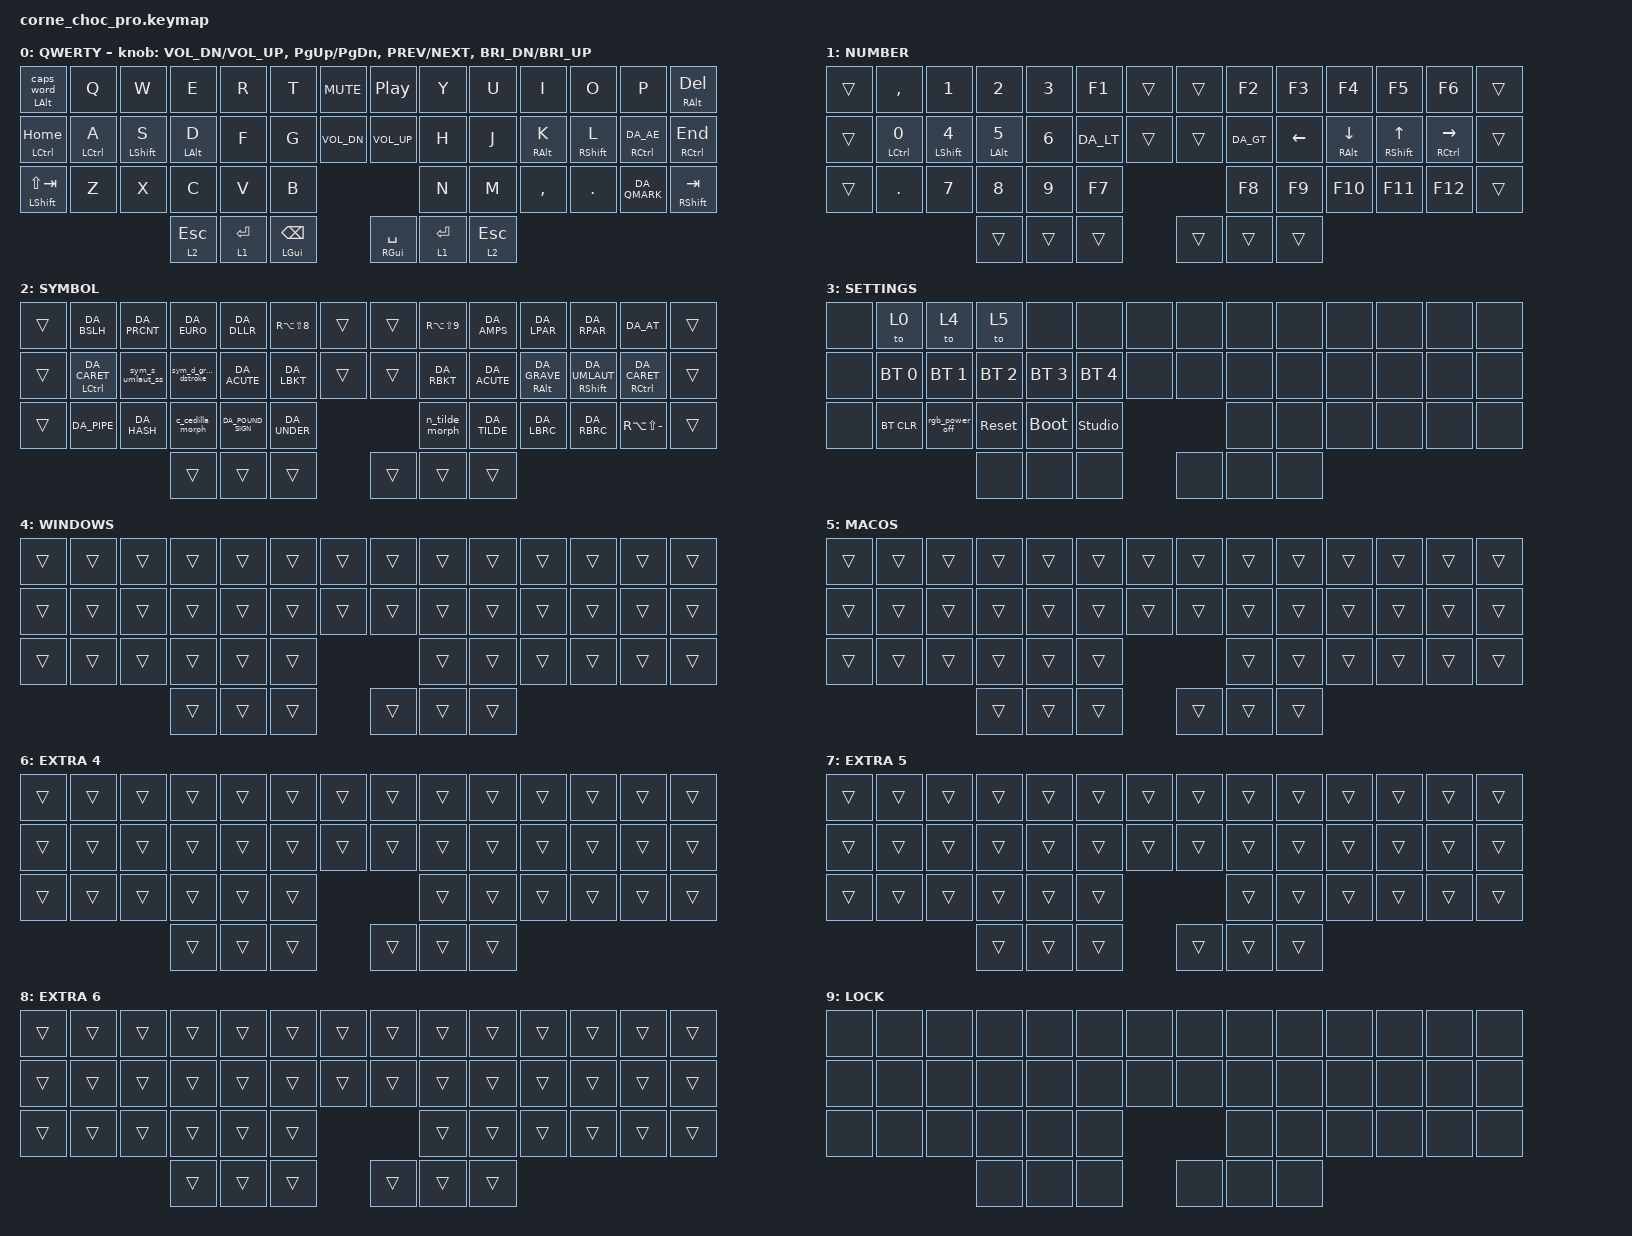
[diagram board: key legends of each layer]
/*
 * Copyright (c) 2020 The ZMK Contributors
 *
 * SPDX-License-Identifier: MIT
 */

#include <behaviors.dtsi>
#include <dt-bindings/zmk/keys.h>
#include <dt-bindings/zmk/bt.h>
#include <dt-bindings/zmk/rgb.h>
#include <dt-bindings/zmk/ext_power.h>
#include <dt-bindings/zmk/modifiers.h>
#include <locale/keys_da.h>

#define LAYER_SETTINGS 3
#define LAYER_LOCK 9

// dk OS layout reinterprets US scancodes — most symbols on the SYMBOL layer
// don't produce what their ZMK keycode names say. We use DA_* aliases from the
// zmk-locales module (wired in via config/west.yml) so the keymap source
// matches what actually lands on screen.
//
// QWERTY Danish letters: DA_A_RING (å), DA_AE (æ), DA_O_SLASH (ø). These resolve
// to the same scancodes as LBKT/SEMI/SQT but the names self-document the intent.

/ {
    chosen {
        zmk,physical-layout = &default_layout;
    };
};

/ {
    behaviors {
        // Layer-entry thumb hold-tap for ESC/SYMBOL and RET/NUMBER.
        //
        // A release within 300 ms produces ESC/RET. Pressing a main-field key
        // or another layer thumb commits the layer hold immediately. Holding
        // past the tapping term without using the layer releases silently.
        // The shorter quick-tap window preserves deliberate tap-then-hold
        // repeat without delaying layer entry for a full 300 ms after a tap.
        layer_thumb: layer_thumb_tap {
            compatible = "zmk,behavior-hold-tap";
            #binding-cells = <2>;
            tapping-term-ms = <300>;
            quick-tap-ms = <175>;
            flavor = "hold-preferred";
            // Main-field positions and the four layer thumbs trigger the hold.
            // The two text thumbs (zero-based positions 42 and 43) stay excluded.
            hold-trigger-key-positions = <
                 0  1  2  3  4  5  6  7  8  9 10 11 12 13
                14 15 16 17 18 19 20 21 22 23 24 25 26 27
                28 29 30 31 32 33       34 35 36 37 38 39
                40 41                         44 45
            >;
            bindings = <&mo>, <&kp>;
        };

        // General-purpose utility mod-tap. Same aggressive timing as
        // layer_thumb, but hold gives a modifier instead of a layer.
        //
        // hold-trigger-key-positions matches layer_thumb: only main-field
        // positions (0-39) chord-trigger the hold, so thumb-thumb chords
        // (e.g., simultaneous SPACE+RET tap) don't accidentally fire either
        // modifier.
        mt_thumb: mod_tap_thumb {
            compatible = "zmk,behavior-hold-tap";
            #binding-cells = <2>;
            tapping-term-ms = <0>;
            quick-tap-ms = <300>;
            flavor = "tap-preferred";
            retro-tap;
            hold-trigger-key-positions = <
                 0  1  2  3  4  5  6  7  8  9 10 11 12 13
                14 15 16 17 18 19 20 21 22 23 24 25 26 27
                28 29 30 31 32 33       34 35 36 37 38 39
            >;
            bindings = <&kp>, <&kp>;
        };

        // Text thumb mod-tap for BSPC/SPACE. These are real text-flow keys, but
        // unlike HRMs their tap side is not part of letter bigrams. Keep the
        // release-deferred thumb timing so either thumb can chord with typing
        // keys on both halves. A recent prior key still forces tap so fast rolls
        // like "r<space>" cannot get stuck behind hold-tap resolution.
        text_thumb: text_thumb_mod {
            compatible = "zmk,behavior-hold-tap";
            label = "TEXT_THUMB";
            #binding-cells = <2>;
            flavor = "balanced";
            tapping-term-ms = <280>;
            quick-tap-ms = <300>;
            require-prior-idle-ms = <125>;
            bindings = <&kp>, <&kp>;
            hold-trigger-key-positions = <
                 0  1  2  3  4  5        8  9 10 11 12 13
                14 15 16 17 18 19       22 23 24 25 26 27
                28 29 30 31 32 33       34 35 36 37 38 39
            >;
            hold-trigger-on-release;
        };

        // Top-left Alt mirror. Same instant/retro-tap utility-key behavior as
        // mt_thumb, but the tap side is Caps Word rather than a normal keycode.
        top_alt_l: top_alt_left {
            compatible = "zmk,behavior-hold-tap";
            label = "TOP_ALT_L";
            #binding-cells = <2>;
            tapping-term-ms = <0>;
            quick-tap-ms = <300>;
            flavor = "tap-preferred";
            retro-tap;
            hold-trigger-key-positions = <
                 0  1  2  3  4  5  6  7  8  9 10 11 12 13
                14 15 16 17 18 19 20 21 22 23 24 25 26 27
                28 29 30 31 32 33       34 35 36 37 38 39
            >;
            bindings = <&kp>, <&caps_word>;
        };

        // Home-row mods. These are intentionally different from mt_thumb:
        // letter keys participate in normal rolling typing, so they use simple
        // timeout-based hold-tap and no retro-tap or positional trigger list.
        //
        // Shift gets its own behavior: after a short pause it can resolve as
        // hold, while fast in-flow rolls still force tap.
        //
        // Cross-half rolls are no longer treated as a special early-hold signal;
        // same-half and cross-half typing now use the same timeout-based rule.
        shift_hrm_l: shift_home_row_mod_left {
            compatible = "zmk,behavior-hold-tap";
            label = "SHIFT_HRM_L";
            #binding-cells = <2>;
            flavor = "tap-preferred";
            tapping-term-ms = <200>;
            quick-tap-ms = <175>;
            require-prior-idle-ms = <150>;
            bindings = <&kp>, <&kp>;
        };

        shift_hrm_r: shift_home_row_mod_right {
            compatible = "zmk,behavior-hold-tap";
            label = "SHIFT_HRM_R";
            #binding-cells = <2>;
            flavor = "tap-preferred";
            tapping-term-ms = <200>;
            quick-tap-ms = <175>;
            require-prior-idle-ms = <150>;
            bindings = <&kp>, <&kp>;
        };

        // Ctrl/Alt keep the same tap-safe shape. Deliberate modifier use starts
        // by holding past the tapping term.
        core_hrm_l: core_home_row_mod_left {
            compatible = "zmk,behavior-hold-tap";
            label = "CORE_HRM_L";
            #binding-cells = <2>;
            flavor = "tap-preferred";
            tapping-term-ms = <280>;
            quick-tap-ms = <175>;
            require-prior-idle-ms = <125>;
            bindings = <&kp>, <&kp>;
        };

        // Right-hand core HRMs use the same tap-safe timing as the left.
        core_hrm_r: core_home_row_mod_right {
            compatible = "zmk,behavior-hold-tap";
            label = "CORE_HRM_R";
            #binding-cells = <2>;
            flavor = "tap-preferred";
            tapping-term-ms = <280>;
            quick-tap-ms = <175>;
            require-prior-idle-ms = <125>;
            bindings = <&kp>, <&kp>;
        };

        sym_s_umlaut_ss: symbol_s_umlaut_sharp_s {
            compatible = "zmk,behavior-tap-dance";
            label = "SYM_S_UMLAUT_SS";
            #binding-cells = <0>;
            tapping-term-ms = <200>;
            bindings = <&shift_hrm_l LSHFT DA_UMLAUT>, <&s_sharp_morph>;
        };

        sym_d_grave_dstroke: symbol_d_grave_dstroke {
            compatible = "zmk,behavior-tap-dance";
            label = "SYM_D_GRAVE_DSTROKE";
            #binding-cells = <0>;
            tapping-term-ms = <200>;
            bindings = <&core_hrm_l LALT DA_GRAVE>, <&kp RA(F)>;
        };

        // Native-layout language helpers. The one-shot entries below only
        // replay ordinary Danish-layout keystrokes that would be typed by hand;
        // they intentionally do not use Unicode-input hex sequences.
        c_cedilla_morph: c_cedilla_morph {
            compatible = "zmk,behavior-mod-morph";
            label = "C_CEDILLA_MORPH";
            #binding-cells = <0>;
            bindings = <&c_cedilla_lower>, <&c_cedilla_upper>;
            mods = <(MOD_LSFT|MOD_RSFT)>;
        };

        caron_morph: caron_morph {
            compatible = "zmk,behavior-mod-morph";
            label = "CARON_MORPH";
            #binding-cells = <0>;
            // Linux/XKB Danish: AltGr+Shift+ø is dead caron.
            bindings = <&kp RA(LS(SQT))>, <&kp RA(LS(SQT))>;
            mods = <(MOD_LSFT|MOD_RSFT)>;
        };

        n_tilde_morph: n_tilde_morph {
            compatible = "zmk,behavior-mod-morph";
            label = "N_TILDE_MORPH";
            #binding-cells = <0>;
            bindings = <&n_tilde_lower>, <&n_tilde_upper>;
            mods = <(MOD_LSFT|MOD_RSFT)>;
        };

        s_sharp_morph: s_sharp_morph {
            compatible = "zmk,behavior-mod-morph";
            label = "S_SHARP_MORPH";
            #binding-cells = <0>;
            bindings = <&kp RA(S)>, <&kp RA(LS(S))>;
            mods = <(MOD_LSFT|MOD_RSFT)>;
        };

        oe_ligature_morph: oe_ligature_morph {
            compatible = "zmk,behavior-mod-morph";
            label = "OE_LIGATURE_MORPH";
            #binding-cells = <0>;
            bindings = <&kp RA(O)>, <&kp RA(LS(O))>;
            mods = <(MOD_LSFT|MOD_RSFT)>;
        };

    };
};

/ {
    macros {
        // Linux/XKB Danish: AltGr+comma is cedilla/dead-cedilla, then c -> ç.
        c_cedilla_lower: c_cedilla_lower {
            label = "C_CEDILLA_LOWER";
            compatible = "zmk,behavior-macro";
            #binding-cells = <0>;
            wait-ms = <0>;
            tap-ms = <10>;
            bindings = <
                &macro_tap &kp RA(COMMA)
                &macro_tap &kp C
            >;
        };

        // Linux/XKB Danish: AltGr+comma is cedilla/dead-cedilla, then Shift+c -> Ç.
        c_cedilla_upper: c_cedilla_upper {
            label = "C_CEDILLA_UPPER";
            compatible = "zmk,behavior-macro";
            #binding-cells = <0>;
            wait-ms = <0>;
            tap-ms = <10>;
            bindings = <
                &macro_tap &kp RA(COMMA)
                &macro_tap &kp LS(C)
            >;
        };

        // Linux/XKB Danish: AltGr+] is dead tilde, then n -> ñ.
        n_tilde_lower: n_tilde_lower {
            label = "N_TILDE_LOWER";
            compatible = "zmk,behavior-macro";
            #binding-cells = <0>;
            wait-ms = <0>;
            tap-ms = <10>;
            bindings = <
                &macro_tap &kp DA_TILDE
                &macro_tap &kp N
            >;
        };

        // Linux/XKB Danish: AltGr+] is dead tilde, then Shift+n -> Ñ.
        n_tilde_upper: n_tilde_upper {
            label = "N_TILDE_UPPER";
            compatible = "zmk,behavior-macro";
            #binding-cells = <0>;
            wait-ms = <0>;
            tap-ms = <10>;
            bindings = <
                &macro_tap &kp DA_TILDE
                &macro_tap &kp LS(N)
            >;
        };

        rgb_power_off: rgb_power_off {
            label = "RGB_POWER_OFF";
            compatible = "zmk,behavior-macro";
            #binding-cells = <0>;
            wait-ms = <0>;
            tap-ms = <10>;
            bindings = <
                &macro_tap &rgb_ug RGB_OFF
                &macro_tap &ext_power EP_OFF
            >;
        };
    };
};

/ {
    combos {
        compatible = "zmk,combos";

        // Ergonomic alternate Danish-letter paths. Direct æ stays on QWERTY;
        // ø and å are typed as local combos around æ.
        combo_aa {
            timeout-ms = <50>;
            key-positions = <26 11>; // Æ + O
            bindings = <&kp DA_A_RING>;
            layers = <0>;
        };

        combo_oe {
            timeout-ms = <50>;
            key-positions = <25 26>; // L + Æ
            bindings = <&kp DA_O_SLASH>;
            layers = <0>;
        };

        combo_tab {
            timeout-ms = <50>;
            key-positions = <1 2>; // Q + W
            bindings = <&kp LS(TAB)>;
            layers = <0>;
        };

        combo_tab_right {
            timeout-ms = <50>;
            key-positions = <11 12>; // O + P
            bindings = <&kp TAB>;
            layers = <0>;
        };

        combo_apos {
            timeout-ms = <50>;
            key-positions = <15 2>; // A + W
            bindings = <&kp DA_APOS>;
            layers = <0>;
        };

        combo_dquote_base {
            timeout-ms = <50>;
            key-positions = <2 3>; // W + E
            bindings = <&kp DA_DQT>;
            layers = <0>;
        };

        combo_home {
            timeout-ms = <50>;
            key-positions = <18 19>; // F + G
            bindings = <&kp HOME>;
            layers = <0>;
        };

        combo_del {
            timeout-ms = <50>;
            key-positions = <8 9>; // Y + U
            bindings = <&kp DEL>;
            layers = <0>;
        };

        combo_end {
            timeout-ms = <50>;
            key-positions = <22 23>; // H + J
            bindings = <&kp END>;
            layers = <0>;
        };

        combo_number_mute {
            timeout-ms = <50>;
            key-positions = <4 5>; // NUMBER R + T
            bindings = <&kp C_MUTE>;
            layers = <1>;
        };

        combo_number_vol_down {
            timeout-ms = <50>;
            key-positions = <18 19>; // NUMBER F + G
            bindings = <&kp C_VOL_DN>;
            layers = <1>;
        };

        combo_number_pp {
            timeout-ms = <50>;
            key-positions = <8 9>; // NUMBER Y + U
            bindings = <&kp C_PP>;
            layers = <1>;
        };

        combo_number_vol_up {
            timeout-ms = <50>;
            key-positions = <22 23>; // NUMBER H + J
            bindings = <&kp C_VOL_UP>;
            layers = <1>;
        };

        combo_number_prev {
            timeout-ms = <50>;
            key-positions = <32 33>; // NUMBER V + B
            bindings = <&kp C_PREV>;
            layers = <1>;
        };

        combo_number_next {
            timeout-ms = <50>;
            key-positions = <34 35>; // NUMBER N + M
            bindings = <&kp C_NEXT>;
            layers = <1>;
        };

        combo_plus {
            timeout-ms = <50>;
            key-positions = <9 10>; // U + I
            bindings = <&kp DA_PLUS>;
            layers = <0>;
        };

        combo_minus {
            timeout-ms = <50>;
            key-positions = <35 36>; // M + ,
            bindings = <&kp DA_MINUS>;
            layers = <0>;
        };

        combo_excl {
            timeout-ms = <50>;
            key-positions = <37 38>; // . + ?
            bindings = <&kp DA_EXCL>;
            layers = <0>;
        };

        combo_lpar {
            timeout-ms = <50>;
            key-positions = <29 30>; // Z + X
            bindings = <&kp DA_LPAR>;
            layers = <0>;
        };

        combo_rpar {
            timeout-ms = <50>;
            key-positions = <30 31>; // X + C
            bindings = <&kp DA_RPAR>;
            layers = <0>;
        };

        combo_acute {
            timeout-ms = <50>;
            key-positions = <36 37>; // , + .
            bindings = <&kp DA_ACUTE>;
            layers = <0>;
        };

        combo_slash {
            timeout-ms = <50>;
            key-positions = <31 32>; // C + V
            bindings = <&kp DA_SLASH>;
            layers = <0>;
        };

        combo_caron_left {
            timeout-ms = <50>;
            key-positions = <15 16>; // SYMBOL A + S
            bindings = <&caron_morph>;
            layers = <2>;
        };

        combo_caron_right {
            timeout-ms = <50>;
            key-positions = <25 26>; // SYMBOL L + Æ
            bindings = <&caron_morph>;
            layers = <2>;
        };

        combo_oe_ligature {
            timeout-ms = <50>;
            key-positions = <3 4>; // SYMBOL E + R
            bindings = <&oe_ligature_morph>;
            layers = <2>;
        };

        combo_inv_excl {
            timeout-ms = <50>;
            key-positions = <37 38>; // SYMBOL } + ¿
            bindings = <&kp RA(N1)>;
            layers = <2>;
        };

        combo_key_lock {
            timeout-ms = <400>;
            key-positions = <23 24 25 26>; // SETTINGS/LOCK J + K + L + Æ
            bindings = <&tog LAYER_LOCK>;
            layers = <LAYER_SETTINGS LAYER_LOCK>;
        };
    };

    // Tri-layer: NUMBER (1) + SYMBOL (2) held together → SETTINGS (3).
    // Lifts the destructive BT/sys/RGB cluster off the NUMBER layer where
    // accidental BSPC + adjacent-letter chords were firing them. Activation
    // is a deliberate two-thumb chord (inner + outer thumb, either hand or
    // cross-hand), which doesn't occur in normal typing.
    conditional_layers {
        compatible = "zmk,conditional-layers";
        tri_layer {
            if-layers = <1 2>;
            then-layer = <3>;
        };
    };

    keymap {
        compatible = "zmk,keymap";

        default_layer {
            display-name = "QWERTY";
            // --------------------------------------------------------------------------------
            // | LALT/ |  Q  |  W  |  E  |  R  |  T  | MUTE  | PP    |  Y  |  U   |  I  |  O  |  P  | RALT/ |
            // | CAPS  |     |     |     |     |     |       |       |     |      |     |     |     | DEL   |
            // | LCTL/ | LCTL/|LSFT/|LALT/|  F  |  G  | Vol-  | Vol+  |  H  |  J   |RALT/|RSFT/|RCTL/| RCTL/ |
            // | HOME  |  A  |  S   | D   |     |     |       |       |     |      | K   | L   |  Æ   | END   |
            // | LSFT/ |  Z  |  X  |  C  |  V  |  B  |               |  N  |  M   |  ,  |  .  | ?/! | RSFT/ |
            // | S+Tab |     |     |     |     |     |               |     |      |     |     |     | TAB / |
            // |       |     |     |     |     |     |               |     |      |     |     |     |       |
            //              | L2/    | L1/      | LGUI/  |   | RGUI/  | L1/      | L2/    |
            //              | ESC    |  RET     | BSPC   |   | SPACE  |  RET     | ESC    |
            //
            // Notes:
            //   * Å and Ø removed from base layer; accessible only via combos
            //     (Æ+O → Å, L+Æ → Ø). The freed outer-pinky positions now
            //     carry utility taps while keeping their modifier holds.
            //   * pos 0: &top_alt_l LALT 0. Hold/chord → LAlt; tap → Caps Word.
            //   * pos 13: &mt_thumb RALT DEL. Hold → RAlt (AltGr); tap → forward
            //     delete. DEL moved here from pos 14.
            //   * pos 14: &mt_thumb LCTRL HOME. Hold → LCtrl; tap → HOME.
            //   * pos 27: &mt_thumb RCTRL END. Hold → RCtrl; tap → END. Pairs
            //     with HOME on pos 14 for line-jump navigation on base layer.
            //   * pos 38: tap `?`; .+? combo gives `!`. `-` moved to NUMBER
            //     pos 14.
            //   * pos 39: normal RShift/Tab utility mod-tap.
            //   * Outer thumbs: tap = ESC on both halves (mirrored).
            bindings = <
                &top_alt_l LALT 0       &kp Q &kp W &kp E &kp R &kp T &kp C_MUTE             &kp C_PP               &kp Y &kp U  &kp I     &kp O   &kp P     &mt_thumb RALT DEL
                &mt_thumb LCTRL HOME    &core_hrm_l LCTRL A &shift_hrm_l LSHFT S &core_hrm_l LALT D &kp F &kp G &kp C_VOL_DN &kp C_VOL_UP &kp H &kp J &core_hrm_r RALT K &shift_hrm_r RSHFT L &core_hrm_r RCTRL DA_AE &mt_thumb RCTRL END
                &mt_thumb LSHFT LS(TAB) &kp Z &kp X &kp C &kp V &kp B                                               &kp N &kp M  &kp COMMA &kp DOT &kp DA_QMARK &mt_thumb RSHFT TAB
                                  &layer_thumb 2 ESC &layer_thumb 1 RET &text_thumb LGUI BSPC        &text_thumb RGUI SPACE &layer_thumb 1 RET &layer_thumb 2 ESC
            >;
            sensor-bindings = <&inc_dec_kp C_VOL_DN C_VOL_UP &inc_dec_kp PG_UP PG_DN &inc_dec_kp C_PREV C_NEXT &inc_dec_kp C_BRI_DN C_BRI_UP>;
        };

        lower_layer {
            display-name = "NUMBER";
            // -----------------------------------------------------------------------------------------
            // | LALT/|  ,  |  1  |  2  |  3  | F1  | MUTE  |  PP   | F2  | F3  | F4  | F5  | F6  | RALT/|
            // | CAPS |     |     |     |     |     |       |       |     |     |     |     |     | DEL  |
            // | LCTL/|LCTL/|LSFT/|LALT/|  6  |  <  | Vol-  | Vol+  |  >  | LFT |RALT/|RSFT/|RCTL/| RCTL/|
            // | HOME |  0  |  4  |  5  |     |     |       |       |     |     | DWN | UP  | RGT | END  |
            // | LSFT/|  .  |  7  |  8  |  9  | F7  |               | F8  | F9  | F10 | F11 | F12 | RSFT/|
            // |S+Tab |     |     |     |     |     |               |     |     |     |     |     | TAB  |
            //              | L2/    | L1/      | LGUI/  |   | RGUI/  | L1/      | L2/    |
            //              | ESC    |  RET     | BSPC   |   | SPACE  |  RET     | ESC    |
            //
            // Layout notes:
            //   * Settings cluster (BT_SEL 0..4, BT_CLR, RGB red toggle, sys_reset,
            //     bootloader, studio_unlock) moved off this layer to the
            //     SETTINGS sub-layer (tri-layer NUMBER + SYMBOL → layer 3).
            //   * WER/SDF/XCV form a left-hand number pad; A is 0.
            //   * A/S/D and K/L/Æ keep their HRM holds while tapping
            //     numbers/arrows; F and J are plain taps on this layer.
            //   * Outer columns inherit the base-layer utility mod-taps.
            //   * Q/Z provide comma/dot beside the number pad for numeric entry.
            //   * T-P and B-? provide F1..F12.
            //   * Arithmetic operators now live on base combos/SYMBOL.
            //   * Row 1 right = arrow cluster on J/K/L/Æ; K/L/Æ keep
            //     Alt/Shift/Ctrl chording on arrow keys.
            bindings = <
                &trans      &kp COMMA &kp N1    &kp N2    &kp N3    &kp F1   &trans    &trans    &kp F2   &kp F3   &kp F4   &kp F5    &kp F6    &trans
                &trans      &core_hrm_l LCTRL N0 &shift_hrm_l LSHFT N4 &core_hrm_l LALT N5 &kp N6 &kp DA_LT &trans &trans &kp DA_GT &kp LEFT &core_hrm_r RALT DOWN &shift_hrm_r RSHFT UP &core_hrm_r RCTRL RIGHT &trans
                &trans      &kp DOT   &kp N7    &kp N8    &kp N9    &kp F7                       &kp F8   &kp F9   &kp F10  &kp F11   &kp F12   &trans
                                            &trans    &trans   &trans                       &trans   &trans   &trans
            >;
        };

        raise_layer {
            display-name = "SYMBOL";
            // -----------------------------------------------------------------------------------------
            // | LALT/|  \  |  %  |  €  |  $  |  «  | LCTRL | RCTRL |  »  |  &  |  (  |  )  |  @  | RALT/|
            // | CAPS |     |     |     |     |     |       |       |     |     |     |     |     | DEL  |
            // | LCTL/|LCTRL|LSHFT|LALT/|  ´  |  [  |  LALT | RALT  |  ]  |  ´  |RALT/|RSFT/|RCTRL| RCTL/|
            // | HOME |  ^  | ¨/ß | `/đ |     |     |       |       |     |     |  `  |  ¨  |  ^  | END  |
            // | LSFT/| "|" |  #  |  ç  |  £  |  _  |               |  ~  |  ~  |  {  |  }  |  ¿  | RSFT/|
            // |S+Tab |     |     |     |     |     |               |     |     |     |     |     | TAB  |
            //                    | GUI |     | SPC |               | ENT |     | ALT |
            bindings = <
                &trans      &kp DA_BSLH &kp DA_PRCNT &kp DA_EURO &kp DA_DLLR &kp RA(LS(N8)) &trans    &trans    &kp RA(LS(N9)) &kp DA_AMPS &kp DA_LPAR  &kp DA_RPAR &kp DA_AT &trans
                &trans      &core_hrm_l LCTRL DA_CARET &sym_s_umlaut_ss &sym_d_grave_dstroke &kp DA_ACUTE &kp DA_LBKT &trans &trans &kp DA_RBKT &kp DA_ACUTE &core_hrm_r RALT DA_GRAVE &shift_hrm_r RSHFT DA_UMLAUT &core_hrm_r RCTRL DA_CARET &trans
                &trans      &kp DA_PIPE &kp DA_HASH &c_cedilla_morph &kp DA_POUND_SIGN &kp DA_UNDER          &n_tilde_morph &kp DA_TILDE &kp DA_LBRC  &kp DA_RBRC &kp RA(LS(MINUS)) &trans
                                                &trans      &trans      &trans                           &trans       &trans       &trans
            >;
        };

        settings_layer {
            display-name = "SETTINGS";
            // -----------------------------------------------------------------------------------------
            // |      | LIN | WIN | MAC |     |       |       |       |     |     |     |     |     |      |
            // |      | BT1 | BT2 | BT3 | BT4 | BT5   |       |       |     |     |     |     |     |      |
            // |      | BTCR| RGB- | RST | BOOT| Unlock|       |       |     |     |     |     |     |      |
            //                    |     |     |       |       |       |     |     |
            //
            // Activated by the tri-layer rule: hold NUMBER (inner thumb) and
            // SYMBOL (outer thumb) together — either same hand or cross-hand.
            // Every non-settings position is &none so accidental brushes
            // while the sub-layer is open don't leak keystrokes.
            bindings = <
                &none &to 0        &to 4           &to 5        &none        &none          &none &none &none &none &none &none &none &none
                &none &bt BT_SEL 0 &bt BT_SEL 1    &bt BT_SEL 2 &bt BT_SEL 3 &bt BT_SEL 4   &none &none &none &none &none &none &none &none
                &none &bt BT_CLR   &rgb_power_off  &sys_reset   &bootloader  &studio_unlock              &none &none &none &none &none &none
                                                   &none        &none        &none                       &none &none &none
            >;
        };

        // Transparent OS mode overlays selected from SETTINGS. They are
        // semantic selectors only, not BT profile selectors. Today they leave
        // the Linux/Danish keymap active; future host-specific replacements
        // for the Linux/XKB-only specials can hang off these layers without
        // coupling character behavior to pairing slots.
        windows_mode_layer {
            display-name = "WINDOWS";
            bindings = <
                &trans &trans &trans &trans &trans &trans &trans &trans &trans &trans &trans &trans &trans &trans
                &trans &trans &trans &trans &trans &trans &trans &trans &trans &trans &trans &trans &trans &trans
                &trans &trans &trans &trans &trans &trans               &trans &trans &trans &trans &trans &trans
                                     &trans &trans &trans               &trans &trans &trans       
            >;
        };

        macos_mode_layer {
            display-name = "MACOS";
            bindings = <
                &trans &trans &trans &trans &trans &trans &trans &trans &trans &trans &trans &trans &trans &trans
                &trans &trans &trans &trans &trans &trans &trans &trans &trans &trans &trans &trans &trans &trans
                &trans &trans &trans &trans &trans &trans               &trans &trans &trans &trans &trans &trans
                                     &trans &trans &trans               &trans &trans &trans       
            >;
        };

        extra_layer_4 {
            display-name = "EXTRA 4";
            bindings = <
                &trans &trans &trans &trans &trans &trans &trans &trans &trans &trans &trans &trans &trans &trans
                &trans &trans &trans &trans &trans &trans &trans &trans &trans &trans &trans &trans &trans &trans
                &trans &trans &trans &trans &trans &trans               &trans &trans &trans &trans &trans &trans
                                     &trans &trans &trans               &trans &trans &trans       
            >;
        };

        extra_layer_5 {
            display-name = "EXTRA 5";
            bindings = <
                &trans &trans &trans &trans &trans &trans &trans &trans &trans &trans &trans &trans &trans &trans
                &trans &trans &trans &trans &trans &trans &trans &trans &trans &trans &trans &trans &trans &trans
                &trans &trans &trans &trans &trans &trans               &trans &trans &trans &trans &trans &trans
                                     &trans &trans &trans               &trans &trans &trans       
            >;
        };

        extra_layer_6 {
            display-name = "EXTRA 6";
            bindings = <
                &trans &trans &trans &trans &trans &trans &trans &trans &trans &trans &trans &trans &trans &trans
                &trans &trans &trans &trans &trans &trans &trans &trans &trans &trans &trans &trans &trans &trans
                &trans &trans &trans &trans &trans &trans               &trans &trans &trans &trans &trans &trans
                                     &trans &trans &trans               &trans &trans &trans       
            >;
        };

        lock_layer {
            display-name = "LOCK";
            // All positions are muted. The only live input is combo_key_lock,
            // which listens to the physical right home-row positions and
            // toggles this layer back off.
            bindings = <
                &none &none &none &none &none &none &none &none &none &none &none &none &none &none
                &none &none &none &none &none &none &none &none &none &none &none &none &none &none
                &none &none &none &none &none &none             &none &none &none &none &none &none
                                  &none &none &none             &none &none &none
            >;
        };
    };
};
